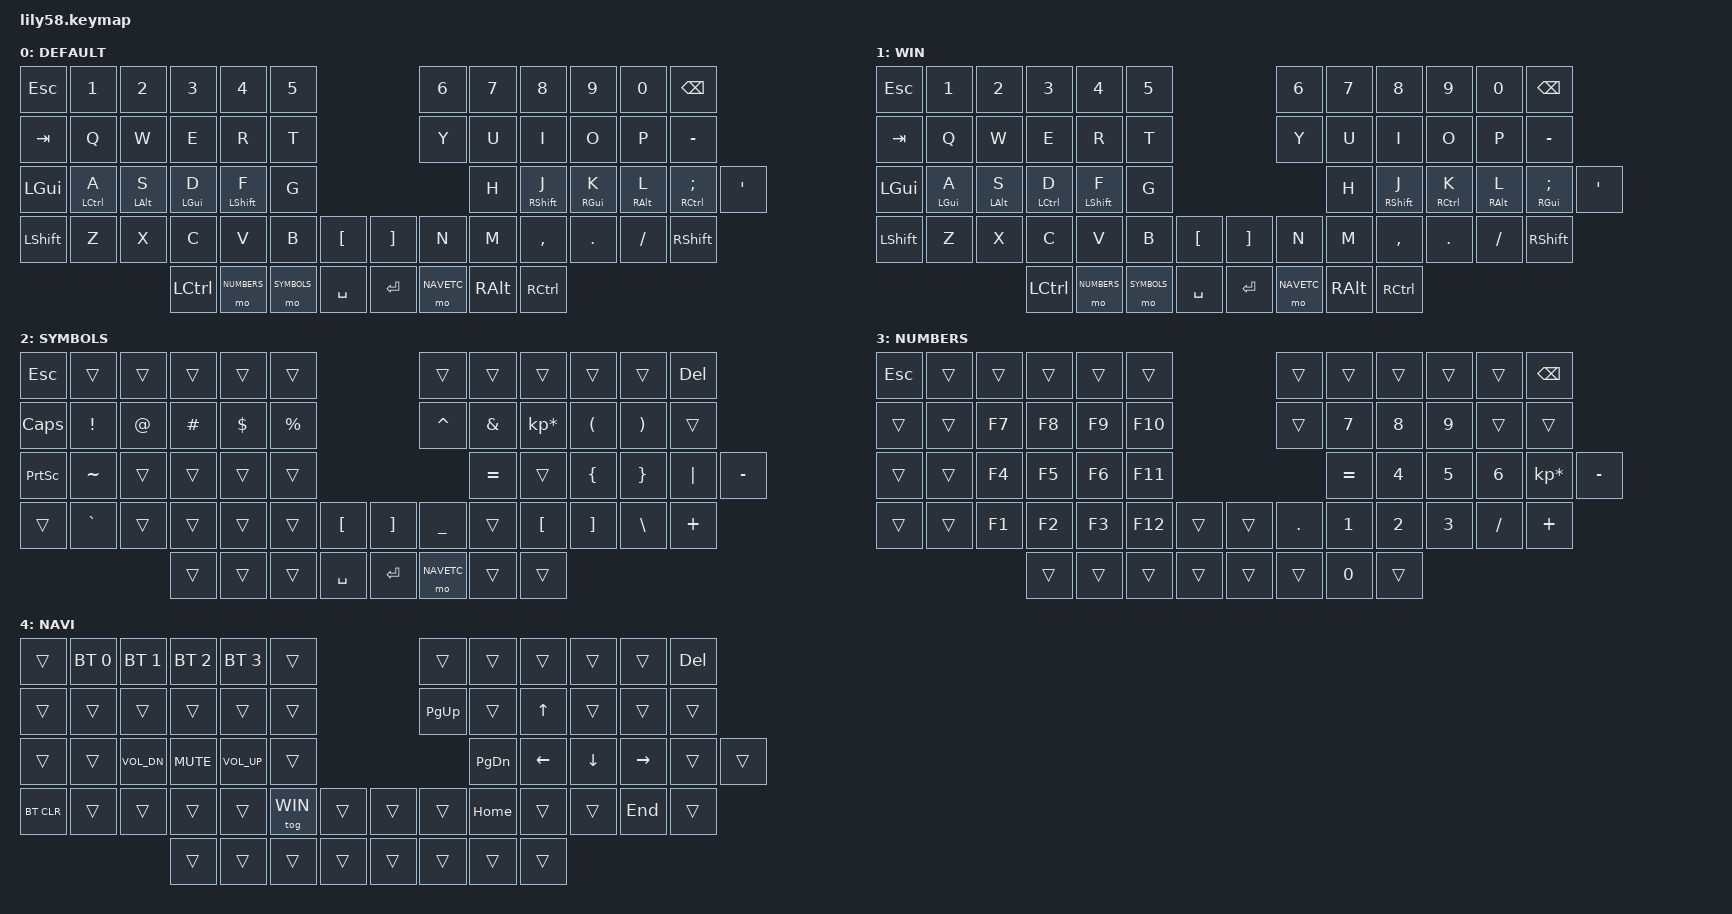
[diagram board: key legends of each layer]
/*
 * Copyright (c) 2020 The ZMK Contributors
 *
 * SPDX-License-Identifier: MIT
 */

#include <behaviors.dtsi>
#include <dt-bindings/zmk/keys.h>
#include <dt-bindings/zmk/bt.h>

#define DEFAULT 0
#define WIN 1
#define SYMBOLS 2
#define NUMBERS 3
#define NAVETC 4

/ {
        behaviors {
            hm: homerow_mods {
                compatible = "zmk,behavior-hold-tap";
                label = "HOMEROW_MODS";
                #binding-cells = <2>;
                tapping_term_ms = <150>;
                flavor = "tap-preferred";
                bindings = <&kp>, <&kp>;
            };
        };
};

/ {
	keymap {
		compatible = "zmk,keymap";

		default_layer {
		// label to be shown on OLED screen:
        label = " DEFAULT";
// ------------------------------------------------------------------------------------------------------------------------------------
// |  ESC  |  1  |  2  |  3   |  4   |  5   |                                           |  6   |  7    |  8    |  9   |   0   |  BSPC |
// |  TAB  |  Q  |  W  |  E   |  R   |  T   |                                           |  Y   |  U    |  I    |  O   |   P   |   -   |
// |  GUI  |  A  |  S  |  D   |  F   |  G   |                                           |  H   |  J    |  K    |  L   |   ;   |   '   |
// | SHIFT |  Z  |  X  |  C   |  V   |  B   |   "["  |                          |  "]"  |  N   |  M    |  ,    |  .   |   /   | SHIFT |
//                     | CTRL | NUM  | SYMB |  SPACE |                          | ENTER | NAVI | ALT   | CTRL  |
			bindings = <
&kp ESC   &kp N1 &kp N2 &kp N3    &kp N4      &kp N5                                &kp N6      &kp N7   &kp N8    &kp N9  &kp N0   &kp BSPC
&kp TAB   &kp Q  &kp W  &kp E     &kp R       &kp T                                 &kp Y       &kp U    &kp I     &kp O   &kp P    &kp MINUS
&kp LGUI  &hm LCTRL A &hm LALT S &hm LGUI D &hm LSHFT F  &kp G                      &kp H &hm RSHFT J &hm RGUI K &hm RALT L &hm RCTRL SEMI &kp SQT
&kp LSHFT &kp Z  &kp X  &kp C     &kp V       &kp B        &kp LBKT       &kp RBKT &kp N       &kp M    &kp COMMA &kp DOT &kp FSLH &kp RSHFT
                        &kp LCTRL &mo NUMBERS &mo SYMBOLS  &kp SPACE      &kp RET  &mo NAVETC  &kp RALT &kp RCTRL
			>;

		};

		windows_layer {
		// label to be shown on OLED screen:
        label = " WIN";
// ------------------------------------------------------------------------------------------------------------------------------------
// |  ESC  |  1  |  2  |  3   |  4   |  5   |                                           |  6   |  7    |  8    |  9   |   0   |  BSPC |
// |  TAB  |  Q  |  W  |  E   |  R   |  T   |                                           |  Y   |  U    |  I    |  O   |   P   |   -   |
// |  GUI  |  A  |  S  |  D   |  F   |  G   |                                           |  H   |  J    |  K    |  L   |   ;   |   '   |
// | SHIFT |  Z  |  X  |  C   |  V   |  B   |   "["  |                          |  "]"  |  N   |  M    |  ,    |  .   |   /   | SHIFT |
//                     | CTRL | NUM  | SYMB |  SPACE |                          | ENTER | NAVI | ALT   | CTRL  |
			bindings = <
&kp ESC   &kp N1 &kp N2 &kp N3    &kp N4      &kp N5                             &kp N6       &kp N7   &kp N8    &kp N9  &kp N0   &kp BSPC
&kp TAB   &kp Q  &kp W  &kp E     &kp R       &kp T                              &kp Y        &kp U    &kp I     &kp O   &kp P    &kp MINUS
&kp LGUI  &hm LGUI A &hm LALT S &hm LCTRL D &hm LSHFT F  &kp G               &kp H &hm RSHFT J &hm RCTRL K &hm RALT L &hm RGUI SEMI &kp SQT
&kp LSHFT &kp Z  &kp X  &kp C     &kp V       &kp B       &kp LBKT       &kp RBKT &kp N       &kp M    &kp COMMA &kp DOT &kp FSLH &kp RSHFT
                        &kp LCTRL &mo NUMBERS &mo SYMBOLS &kp SPACE      &kp RET  &mo NAVETC  &kp RALT &kp RCTRL
			>;

		};

		symbols_layer {
		// label to be shown on OLED screen:
        label = " SYMBOLS";
// ------------------------------------------------------------------------------------------------------------------------------------
// |  ESC  |     |     |      |      |      |                                           |      |       |       |      |       |  DEL  |
// |  CAPS |  !  |  @  |  #   |  $   |  %   |                                           |  ^   |  &    |  *    |  (   |   )   |       |
// | PSCRN |  ~  |     |      |      |      |                                           |  =   |       |  {    |  }   |  "|"  |   -   |
// |       |  `  |     |      |      |      |   "["  |                          |  "]"  |  _   |       |  [    |  ]   |   \   |   +   |
//                     |      |      |      |  SPACE |                          | ENTER | NAVI |       |       |
			bindings = <
&kp ESC   &trans    &trans  &trans    &trans    &trans                              &trans      &trans    &trans           &trans   &trans   &kp DEL
&kp CAPS  &kp EXCL  &kp AT  &kp HASH  &kp DLLR  &kp PRCNT                           &kp CARET   &kp AMPS  &kp KP_MULTIPLY  &kp LPAR &kp RPAR &trans
&kp PSCRN &kp TILDE &trans  &trans    &trans    &trans                              &kp EQUAL   &trans    &kp LBRC         &kp RBRC &kp PIPE &kp MINUS
&trans    &kp GRAVE &trans  &trans    &trans    &trans  &kp LBKT          &kp RBKT  &kp UNDER   &trans    &kp LBKT         &kp RBKT &kp BSLH &kp PLUS
                            &trans    &trans    &trans  &kp SPACE         &kp RET   &mo NAVETC  &trans    &trans
			>;

		};


		numbers_layer {
		// label to be shown on OLED screen:
        label = " NUMBERS";
// -------------------------------------------------------------------------------------------------------------------------------------------------
// |  ESC  |     |              |         |          |        |                        |       |            |        |      |              | BKSP  |
// |       |     |       F7     |     F8  |    F9    |   F10  |                        |       |      7     |  8     |  9   |              |       |
// |       |     |       F4     |     F5  |    F6    |   F11  |                        |  =    |      4     |  5     |  6   |    *         |   -   |
// |       |     |       F1     |     F2  |    F3    |   F12  |        |       |       |  .    |      1     |  2     |  3   |    /         |   +   |
//                              |         |          |        |        |       |       |       |      0     |        |
			bindings   = <
&kp ESC  &trans    &trans     &trans    &trans    &trans                                  &trans     &trans    &trans    &trans   &trans           &kp BSPC
&trans   &trans    &kp F7     &kp F8    &kp F9    &kp F10                                 &trans     &kp N7    &kp N8    &kp N9   &trans           &trans
&trans   &trans    &kp F4     &kp F5    &kp F6    &kp F11                                 &kp EQUAL  &kp N4    &kp N5    &kp N6   &kp KP_MULTIPLY  &kp MINUS
&trans   &trans    &kp F1     &kp F2    &kp F3    &kp F12   &trans               &trans   &kp DOT    &kp N1    &kp N2    &kp N3   &kp FSLH         &kp PLUS
                              &trans    &trans    &trans    &trans               &trans   &trans     &kp N0    &trans
			>;

		};

		navi_layer {
		// label to be shown on OLED screen:
        label = " NAVI";
// ------------------------------------------------------------------------------------------------------------------------------------------------------
// |       |BT_SEL 0   |BT_SEL 1     |BT_SEL 2|    BT_SEL 3|           |                      |          |         |         |         |        |  DEL  |
// |       |           |             |        |            |           |                      |  PG_UP   |         |   UP    |         |        |       |
// |       |           |Vol-         | MUTE   |     Vol+   |           |                      |  PG_DN   |  LEFT   |  DOWN   |   RIGHT |        |       |
// |BT_CLR |           |             |        |            |  tog WIN  |        |     |       |          |  HOME   |         |         |  END   |       |
//                                   |        |            |           |        |     |       |          |         |         | 
			bindings = <
&trans     &bt BT_SEL 0 &bt BT_SEL 1 &bt BT_SEL 2 &bt BT_SEL 3  &trans                          &trans     &trans    &trans    &trans    &trans   &kp DEL
&trans     &trans       &trans       &trans       &trans        &trans                          &kp PG_UP  &trans    &kp UP    &trans    &trans   &trans
&trans     &trans       &kp C_VOL_DN &kp K_MUTE   &kp C_VOL_UP  &trans                          &kp PG_DN  &kp LEFT  &kp DOWN  &kp RIGHT &trans   &trans
&bt BT_CLR &trans       &trans       &trans       &trans        &tog WIN  &trans      &trans    &trans     &kp HOME  &trans    &trans    &kp END  &trans
                                     &trans       &trans        &trans    &trans      &trans    &trans     &trans    &trans
			>;

		};
	};
};
